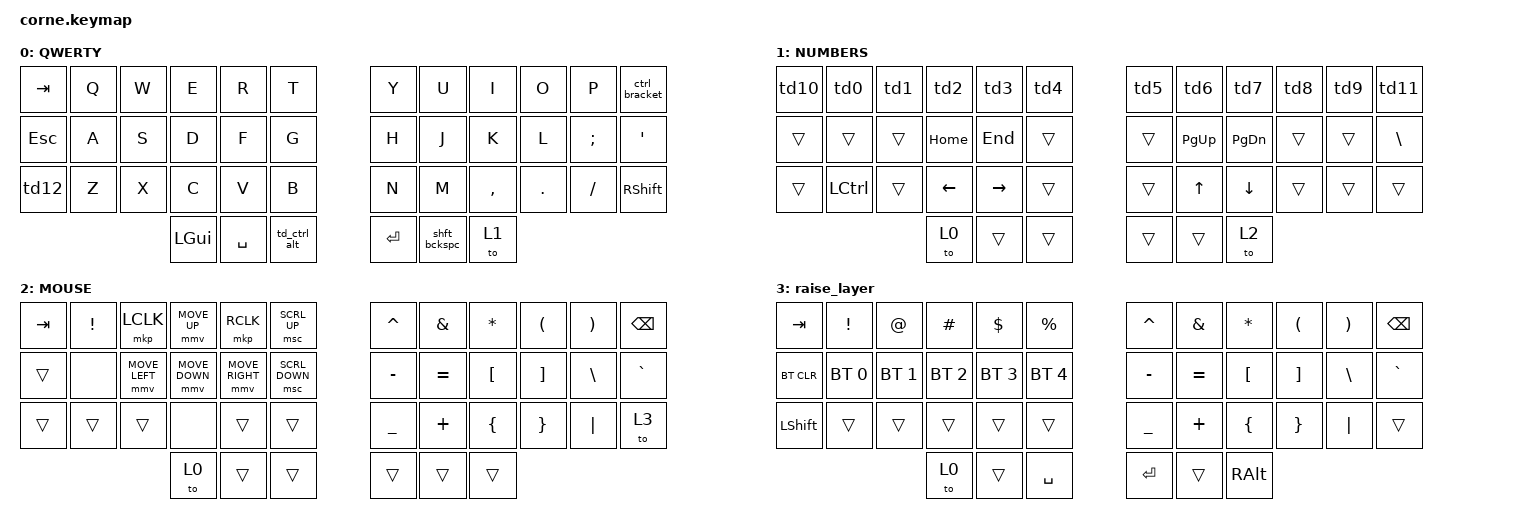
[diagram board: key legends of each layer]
/*
 * Copyright (c) 2020 The ZMK Contributors
 *
 * SPDX-License-Identifier: MIT
 */
#define ZMK_POINTING_DEFAULT_MOVE_VAL 1200  // default: 600
#define ZMK_POINTING_DEFAULT_SCRL_VAL 20    // default: 10

#include <dt-bindings/zmk/pointing.h>
#include <behaviors.dtsi>
#include <dt-bindings/zmk/keys.h>
#include <dt-bindings/zmk/bt.h>
#include <dt-bindings/zmk/mouse.h>

/ {
        behaviors {
                td0: tap_dance_0 {
                        compatible = "zmk,behavior-tap-dance";
                        #binding-cells = <0>;
                        tapping-term-ms = <200>;
                        bindings = <&kp N1>, <&kp F2>;
                };
                td1: tap_dance_1 {
                        compatible = "zmk,behavior-tap-dance";
                        #binding-cells = <0>;
                        tapping-term-ms = <200>;
                        bindings = <&kp N2>, <&kp F3>;
                };
                td2: tap_dance_2 {
                        compatible = "zmk,behavior-tap-dance";
                        #binding-cells = <0>;
                        tapping-term-ms = <200>;
                        bindings = <&kp N3>, <&kp F4>;
                };
                td3: tap_dance_3 {
                        compatible = "zmk,behavior-tap-dance";
                        #binding-cells = <0>;
                        tapping-term-ms = <200>;
                        bindings = <&kp N4>, <&kp F5>;
                };
                td4: tap_dance_4 {
                        compatible = "zmk,behavior-tap-dance";
                        #binding-cells = <0>;
                        tapping-term-ms = <200>;
                        bindings = <&kp N5>, <&kp F6>;
                };
                td5: tap_dance_5 {
                        compatible = "zmk,behavior-tap-dance";
                        #binding-cells = <0>;
                        tapping-term-ms = <200>;
                        bindings = <&kp N6>, <&kp F7>;
                };
                td6: tap_dance_6 {
                        compatible = "zmk,behavior-tap-dance";
                        #binding-cells = <0>;
                        tapping-term-ms = <200>;
                        bindings = <&kp N7>, <&kp F8>;
                };
                td7: tap_dance_7 {
                        compatible = "zmk,behavior-tap-dance";
                        #binding-cells = <0>;
                        tapping-term-ms = <200>;
                        bindings = <&kp N8>, <&kp F9>;
                };
                td8: tap_dance_8 {
                        compatible = "zmk,behavior-tap-dance";
                        #binding-cells = <0>;
                        tapping-term-ms = <200>;
                        bindings = <&kp N9>, <&kp F10>;
                };
                td9: tap_dance_9 {
                        compatible = "zmk,behavior-tap-dance";
                        #binding-cells = <0>;
                        tapping-term-ms = <200>;
                        bindings = <&kp N0>, <&kp F11>;
                };
                td10: tap_dance_10 {
                        compatible = "zmk,behavior-tap-dance";
                        #binding-cells = <0>;
                        tapping-term-ms = <200>;
                        bindings = <&kp EQUAL>, <&kp F1>;
                };
                td11: tap_dance_11 {
                        compatible = "zmk,behavior-tap-dance";
                        #binding-cells = <0>;
                        tapping-term-ms = <200>;
                        bindings = <&kp MINUS>, <&kp F12>;
                };
                td12: tap_dance_12 {
                        compatible = "zmk,behavior-tap-dance";
                        #binding-cells = <0>;
                        tapping-term-ms = <200>;
                        bindings = <&kp LEFT_SHIFT>, <&kp CAPSLOCK>;
                };
                td_ctrl_alt: td_ctrl_alt {
                        compatible = "zmk,behavior-tap-dance";
                        #binding-cells = <0>;
                        tapping-term-ms = <300>;
                        bindings = <&kp LEFT_CONTROL>, <&kp LEFT_ALT>;
                };

                shft_bckspc: shift_backspace {
                        compatible = "zmk,behavior-mod-morph";
                        #binding-cells = <0>;
                        bindings = <&kp BACKSPACE>, <&kp DEL>;
                        mods = <(MOD_LSFT)>;                        
                };

                ctrl_bracket: ctrl_bracket {
                        compatible = "zmk,behavior-mod-morph";
                        #binding-cells = <0>;
                        bindings = <&kp LBKT>, <&kp RBKT>;
                        mods = <(MOD_LCTL)>;
                };
        };

        keymap {
                compatible = "zmk,keymap";
                // there's 54 onions in my &^*=-f
                default_layer {
                        display-name = "QWERTY";
// -----------------------------------------------------------------------------------------
// |  TAB |  Q  |  W  |  E  |  R  |  T  |   |  Y  |  U   |  I  |  O  |  P  | BSPC |
// | CTRL |  A  |  S  |  D  |  F  |  G  |   |  H  |  J   |  K  |  L  |  ;  |  '   |
// | SHFT |  Z  |  X  |  C  |  V  |  B  |   |  N  |  M   |  ,  |  .  |  /  | ESC  |
//                    | GUI | LWR | SPC |   | ENT | RSE  | ALT |
                        bindings = <
   &kp TAB   &kp Q &kp W &kp E &kp R &kp T   &kp Y &kp U  &kp I     &kp O   &kp P    &ctrl_bracket
   &kp ESCAPE &kp A &kp S &kp D &kp F &kp G   &kp H &kp J  &kp K     &kp L   &kp SEMI &kp SINGLE_QUOTE
   &td12 &kp Z &kp X &kp C &kp V &kp B   &kp N &kp M  &kp COMMA &kp DOT &kp FSLH &kp RIGHT_SHIFT
                  &kp LGUI &kp SPACE &td_ctrl_alt   &kp RET &shft_bckspc &to 1
                        >;
                };
                
                lower_layer {
                        display-name = "NUMBERS";
// ------------------------------------------------------------------------------;-----------
// |  TAB |  1  |  2  |  3  |  4  |  5  |   |  6  |  7  |  8  |  9  |  0  | BSPC |
// | BTCLR| BT1 | BT2 | BT3 | BT4 | BT5 |   | LFT | DWN |  UP | RGT |     |      |
// | SHFT |     |     |     |     |     |   |     |     |     |     |     |      |
//                    | GUI |     | SPC |   | ENT |     | ALT |
                        bindings = <
   &td10    &td0       &td1       &td2       &td3       &td4         &td5   &td6   &td7 &td8    &td9 &td11
   &trans &trans &trans &kp HOME &kp END &trans    &trans &kp PG_UP &kp PG_DN &trans &trans &kp BACKSLASH
   &trans  &kp LEFT_CONTROL  &trans &kp LEFT   &kp RIGHT  &trans &trans   &kp UP   &kp DOWN &trans    &trans &trans
                                    &to 0     &trans       &trans      &trans  &trans   &to 2
                        >;
                };

                mouse_layer {
                        display-name = "MOUSE";
// -----------------------------------------------------------------------------------------
// |  TAB |  !  |  @  |  #  |  $  |  %  |   |  ^  |  &  |  *  |  (  |  )  | BSPC |
// | CTRL |     |     |     |     |     |   |  -  |  =  |  [  |  ]  |  \  |  `   |
// | SHFT |     |     |     |     |     |   |  _  |  +  |  {  |  }  | "|" |  ~   |
//                    | GUI |     | SPC |   | ENT |     | ALT |
                        bindings = <
   &kp  TAB  &kp EXCL &mkp LCLK &mmv MOVE_UP &mkp RCLK &msc SCRL_UP   &kp CARET &kp AMPS  &kp ASTRK &kp LPAR &kp RPAR &kp BSPC
   &trans &none &mmv MOVE_LEFT &mmv MOVE_DOWN &mmv MOVE_RIGHT &msc SCRL_DOWN      &kp MINUS &kp EQUAL &kp LBKT  &kp RBKT &kp BSLH &kp GRAVE
   &trans &trans   &trans &none   &trans   &trans      &kp UNDER &kp PLUS  &kp LBRC  &kp RBRC &kp PIPE &to 3
                             &to 0 &trans   &trans   &trans   &trans    &trans
                        >;
                };

                raise_layer {
// -----------------------------------------------------------------------------------------
// |  TAB |  !  |  @  |  #  |  $  |  %  |   |  ^  |  &  |  *  |  (  |  )  | BSPC |
// | CTRL |     |     |     |     |     |   |  -  |  =  |  [  |  ]  |  \  |  `   |
// | SHFT |     |     |     |     |     |   |  _  |  +  |  {  |  }  | "|" |  ~   |
//                    | GUI |     | SPC |   | ENT |     | ALT |
                        bindings = <
   &kp  TAB  &kp EXCL &kp AT &kp HASH &kp DLLR &kp PRCNT   &kp CARET &kp AMPS  &kp ASTRK &kp LPAR &kp RPAR &kp BSPC
   &bt BT_CLR &bt BT_SEL 0 &bt BT_SEL 1 &bt BT_SEL 2 &bt BT_SEL 3 &bt BT_SEL 4      &kp MINUS &kp EQUAL &kp LBKT  &kp RBKT &kp BSLH &kp GRAVE
   &kp LSHFT &trans   &trans &trans   &trans   &trans      &kp UNDER &kp PLUS  &kp LBRC  &kp RBRC &kp PIPE &trans
                             &to 0 &trans   &kp SPACE   &kp RET   &trans    &kp RALT
                        >;
                };


        };
};
